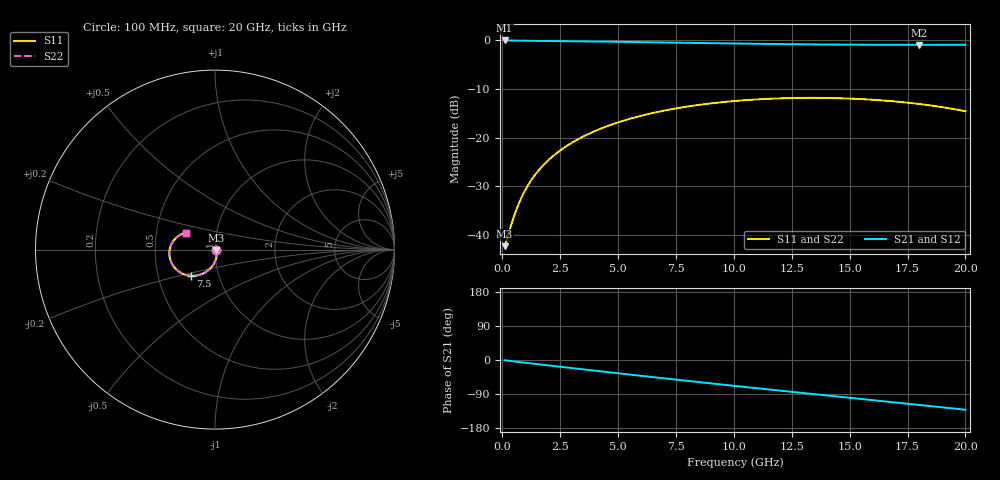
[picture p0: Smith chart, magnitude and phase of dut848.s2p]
! Touchstone file exported from HFSS 2026.1.0
!  File:  C:/ffzhzh/LocalFiles/Ansys_Project_Files/temp_train_TSV_RDL_848_1783268999_5512.aedt
!  Generated:  12:35:50 AM Jul  6, 2026
!  Design:  TSV_RDL
!  Project:  temp_train_TSV_RDL_848_1783268999_5512
! Variables:
!  h_bsmrdl = 5.36um
!  h_ox = 20um
!  h_rdl = 5um
!  h_sub = 61.6um
!  h_tmrdl = 2.95um
!  h_tsv = 61.6um
!  h_via = 3um
!  l_bsmrdl = 197.73um
!  l_sub = 2106.71um
!  l_tmrdl = 241.78um
!  m_sub = 200um
!  pitch = 29.66um
!  r_tsv = 12.35um
!  s_tmrdl = 10um
!  w_bsmrdl = 20.72um
!  w_sub = 500um
!  w_tmrdl = 28.08um
!  x_tsv_center1 = 255.82um
!  x_tsv_center2 = 474.27um
!  x_tsv_center3 = 744.13um
!  x_tsv_center4 = 962.58um
!  x_tsv_center5 = 1232.44um
!  x_tsv_center6 = 1450.89um
# GHz S MA R 50.000000
! Terminal data exported
! Port[1] = TM_RDL1_1_T1
! Port[2] = TM_RDL5_1_T1
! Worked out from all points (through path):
!   200 points, 100 MHz to 20 GHz, reference 50 ohm
!   highest |S21| = -0.07 dB at 100 MHz (marker M1); lowest = -1.0 dB at 18 GHz (marker M2)
!   group delay of S21, straight-line fit = 18.1 ps
!   lowest |S11| = -42.2 dB at 100 MHz (marker M3), VSWR 1.02, Z = 50.8 - j0.135 ohm
!   |S11| at or under -10 dB: start of sweep to end of sweep
!   |S22| runs from -42.2 to -11.8 dB; largest |S21 - S12| = 1.9e-13
!   S11 on the Smith chart (normalised r, x): 100 MHz: 1.02, -0.00; 7.5 GHz: 0.73, -0.22; 20 GHz: 0.71, +0.14
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0.1  0.007731 -9.9  0.9924 -0.8  0.9924 -0.8  0.007731 -9.9
! Gamma 0 0 0 0
! Port Impedance 50 0 50 0
0.5  0.0155 -47.1  0.9886 -3.8  0.9886 -3.8  0.0155 -47.1
0.7  0.02078 -57.4  0.9871 -5.2  0.9871 -5.2  0.02078 -57.4
1  0.02934 -67.8  0.9852 -7.3  0.9852 -7.3  0.02934 -67.8
1.3  0.0382 -75.1  0.9835 -9.4  0.9835 -9.4  0.0382 -75.1
1.7  0.05016 -82.3  0.9816 -12.2  0.9816 -12.2  0.05016 -82.3
2.2  0.0651 -89.2  0.9791 -15.7  0.9791 -15.7  0.06509 -89.2
2.8  0.0828 -95.9  0.9759 -19.9  0.9759 -19.9  0.0828 -95.9
3.5  0.103 -102.5  0.9719 -24.8  0.9719 -24.8  0.103 -102.5
4.2  0.1224 -108.5  0.9674 -29.6  0.9674 -29.6  0.1224 -108.5
5  0.1435 -114.9  0.9618 -35.1  0.9618 -35.1  0.1435 -114.9
5.9  0.1656 -121.7  0.9551 -41.2  0.9551 -41.2  0.1655 -121.7
6.8  0.1856 -128.2  0.948 -47.2  0.948 -47.2  0.1855 -128.2
7.5  0.1996 -133.1  0.9425 -51.9  0.9425 -51.9  0.1996 -133.1
8.8  0.2217 -141.9  0.9323 -60.4  0.9323 -60.4  0.2217 -142.0
10.1  0.2385 -150.5  0.9227 -68.8  0.9227 -68.8  0.2385 -150.5
11.7  0.2516 -160.7  0.9123 -79.0  0.9123 -79.0  0.2515 -160.8
13.4  0.2562 -171.3  0.9037 -89.7  0.9037 -89.7  0.2561 -171.4
15  0.2518 179.0  0.8983 -99.7  0.8983 -99.7  0.2517 178.8
16.7  0.2381 168.8  0.8952 -110.3  0.8952 -110.3  0.2381 168.7
18  0.2217 161.1  0.8946 -118.5  0.8946 -118.5  0.2216 161.0
20  0.1869 149.7  0.8958 -131.2  0.8958 -131.2  0.1868 149.5
